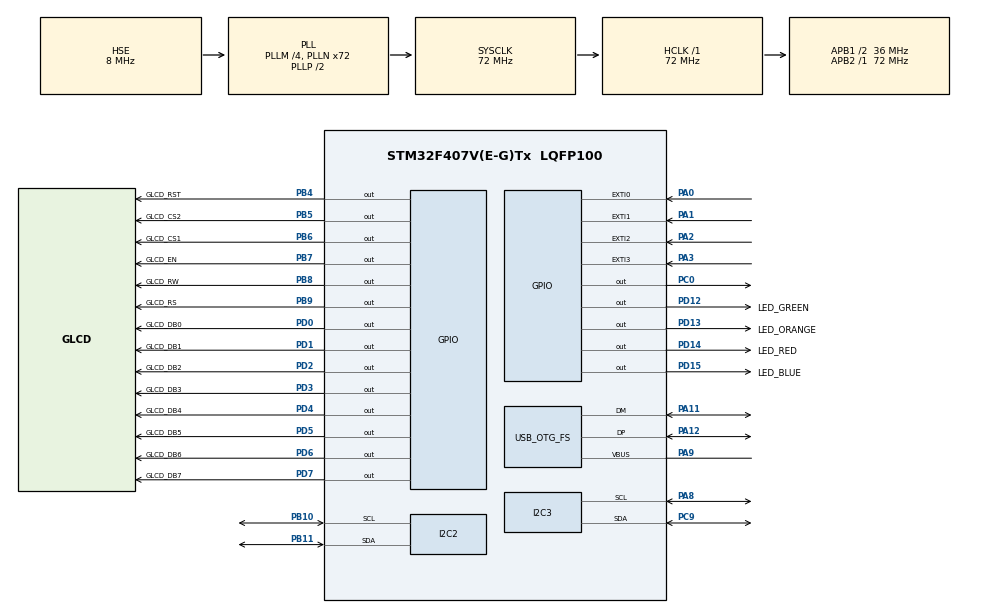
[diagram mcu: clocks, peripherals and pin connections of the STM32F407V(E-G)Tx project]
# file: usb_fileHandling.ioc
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FATFS._FS_EXFAT=1
FATFS._MAX_SS=4096
FATFS._USE_LFN=1
I2C2.DutyCycle=I2C_DUTYCYCLE_16_9
I2C2.I2C_Mode=I2C_Fast
I2C3.DutyCycle=I2C_DUTYCYCLE_16_9
I2C3.I2C_Mode=I2C_Fast
Mcu.Family=STM32F4
Mcu.Name=STM32F407V(E-G)Tx
Mcu.Package=LQFP100
NVIC.EXTI0_IRQn=true\:0\:0\:false\:false\:true\:true\:true
NVIC.EXTI1_IRQn=true\:0\:0\:false\:false\:true\:true\:true
NVIC.EXTI2_IRQn=true\:0\:0\:false\:false\:true\:true\:true
NVIC.EXTI3_IRQn=true\:0\:0\:false\:false\:true\:true\:true
NVIC.I2C2_EV_IRQn=true\:0\:0\:false\:false\:true\:true\:true
NVIC.I2C3_ER_IRQn=true\:0\:0\:false\:false\:true\:true\:true
NVIC.I2C3_EV_IRQn=true\:0\:0\:false\:false\:true\:true\:true
NVIC.OTG_FS_IRQn=true\:0\:0\:false\:false\:true\:true\:true
NVIC.PriorityGroup=NVIC_PRIORITYGROUP_4
PA0-WKUP.Signal=GPXTI0
PA1.Signal=GPXTI1
PA11.Mode=Host_Only
PA11.Signal=USB_OTG_FS_DM
PA12.Mode=Host_Only
PA12.Signal=USB_OTG_FS_DP
PA13.Mode=Serial_Wire
PA13.Signal=SYS_JTMS-SWDIO
PA14.Mode=Serial_Wire
PA14.Signal=SYS_JTCK-SWCLK
PA2.Signal=GPXTI2
PA3.Signal=GPXTI3
PA8.Mode=I2C
PA8.Signal=I2C3_SCL
PA9.Mode=Activate_VBUS
PA9.Signal=USB_OTG_FS_VBUS
PB10.Mode=I2C
PB10.Signal=I2C2_SCL
PB11.Mode=I2C
PB11.Signal=I2C2_SDA
PB4.GPIO_Label=GLCD_RST
PB4.Signal=GPIO_Output
PB5.GPIO_Label=GLCD_CS2
PB5.Signal=GPIO_Output
PB6.GPIO_Label=GLCD_CS1
PB6.Signal=GPIO_Output
PB7.GPIO_Label=GLCD_EN
PB7.Signal=GPIO_Output
PB8.GPIO_Label=GLCD_RW
PB8.Signal=GPIO_Output
PB9.GPIO_Label=GLCD_RS
PB9.Signal=GPIO_Output
PC0.Signal=GPIO_Output
PC9.Mode=I2C
PC9.Signal=I2C3_SDA
PD0.GPIO_Label=GLCD_DB0
PD0.Signal=GPIO_Output
PD1.GPIO_Label=GLCD_DB1
PD1.Signal=GPIO_Output
PD12.GPIO_Label=LED_GREEN
PD12.Signal=GPIO_Output
PD13.GPIO_Label=LED_ORANGE
PD13.Signal=GPIO_Output
PD14.GPIO_Label=LED_RED
PD14.Signal=GPIO_Output
PD15.GPIO_Label=LED_BLUE
PD15.Signal=GPIO_Output
PD2.GPIO_Label=GLCD_DB2
PD2.Signal=GPIO_Output
PD3.GPIO_Label=GLCD_DB3
PD3.Signal=GPIO_Output
PD4.GPIO_Label=GLCD_DB4
PD4.Signal=GPIO_Output
PD5.GPIO_Label=GLCD_DB5
PD5.Signal=GPIO_Output
PD6.GPIO_Label=GLCD_DB6
PD6.Signal=GPIO_Output
PD7.GPIO_Label=GLCD_DB7
PD7.Signal=GPIO_Output
PH0-OSC_IN.Mode=HSE-External-Oscillator
PH0-OSC_IN.Signal=RCC_OSC_IN
PH1-OSC_OUT.Mode=HSE-External-Oscillator
PH1-OSC_OUT.Signal=RCC_OSC_OUT
ProjectManager.HeapSize=0x200
ProjectManager.StackSize=0x400
ProjectManager.TargetToolchain=STM32CubeIDE
RCC.48MHZClocksFreq_Value=48000000
RCC.AHBFreq_Value=72000000
RCC.APB1CLKDivider=RCC_HCLK_DIV2
RCC.APB1Freq_Value=36000000
RCC.APB1TimFreq_Value=72000000
RCC.APB2Freq_Value=72000000
RCC.APB2TimFreq_Value=72000000
RCC.CortexFreq_Value=72000000
RCC.HCLKFreq_Value=72000000
RCC.HSE_VALUE=8000000
RCC.HSI_VALUE=16000000
RCC.LSE_VALUE=32768
RCC.PLLM=4
RCC.PLLN=72
RCC.PLLQ=3
RCC.SYSCLKFreq_VALUE=72000000
RCC.SYSCLKSource=RCC_SYSCLKSOURCE_PLLCLK
RCC.VCOOutputFreq_Value=144000000
TIM1.Period=0xffff-1
TIM1.Prescaler=72-1
USB_HOST.BSP.number=1
USB_HOST.USBH_HandleTypeDef-MSC_FS=hUsbHostFS
USB_HOST.VirtualModeFS=Msc
USB_HOST0.BSP.STBoard=false
USB_HOST0.BSP.api=Unknown
USB_HOST0.BSP.i2caddr=0
USB_HOST0.BSP.instance=PC0
USB_HOST0.BSP.ip=GPIO
USB_HOST0.BSP.mode=Output
USB_HOST0.BSP.name=Drive_VBUS_FS
USB_HOST0.BSP.solution=PC0
USB_OTG_FS.VirtualMode=Host_Only
USB_OTG_FS.phy_itface=HCD_PHY_EMBEDDED
VP_FATFS_VS_USB.Mode=USB
VP_TIM1_VS_ClockSourceINT.Mode=Internal
VP_USB_HOST_VS_USB_HOST_MSC_FS.Mode=MSC_FS
board=custom

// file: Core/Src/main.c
/* USER CODE BEGIN Header */
/**
  ******************************************************************************
  * @file           : main.c
  * @brief          : Main program body
  ******************************************************************************
  * @attention
  *
  * <h2><center>&copy; Copyright (c) 2021 STMicroelectronics.
  * All rights reserved.</center></h2>
  *
  * This software component is licensed by ST under Ultimate Liberty license
  * SLA0044, the "License"; You may not use this file except in compliance with
  * the License. You may obtain a copy of the License at:
  *                             www.st.com/SLA0044
  *
  ******************************************************************************
  */
/* USER CODE END Header */
#include "main.h"
#include "fatfs.h"
#include "usb_host.h"

/* USER CODE BEGIN Includes */
#include "jhd12864e.h"
#include "pca9698.h"
#include "usb_FH.h"

/* USER CODE END Includes */

I2C_HandleTypeDef hi2c2;
I2C_HandleTypeDef hi2c3;

TIM_HandleTypeDef htim1;

/* USER CODE BEGIN PV */
int filecount;
extern ApplicationTypeDef Appli_state;
typedef enum {
	up_button = 0x00,
	down_button = 0x01,
	select_button = 0x02,
	usb_mount = 0x03,
	usb_unmount = 0x04,
	no_button = 0xFF
} hmi_state;
extern GLCD_t glcd_handle;
hmi_state select_flag=no_button;
/* USER CODE END PV */

void SystemClock_Config(void);
static void MX_GPIO_Init(void);
static void MX_TIM1_Init(void);
static void MX_I2C2_Init(void);
static void MX_I2C3_Init(void);
void MX_USB_HOST_Process(void);

int main(void)
{

  /* MCU Configuration--------------------------------------------------------*/

  /* Reset of all peripherals, Initializes the Flash interface and the Systick. */
  HAL_Init();

  /* Configure the system clock */
  SystemClock_Config();

  /* Initialize all configured peripherals */
  MX_GPIO_Init();
  MX_TIM1_Init();
  MX_FATFS_Init();
  MX_USB_HOST_Init();
  MX_I2C2_Init();
  MX_I2C3_Init();
  /* USER CODE BEGIN 2 */
  HAL_TIM_Base_Start(&htim1);
  GLCD_Init();
  GLCD_Clear_All();
  /* USER CODE END 2 */

  /* Infinite loop */
  /* USER CODE BEGIN WHILE */
  while (1)
  {
	  if(select_flag==down_button){
	  	  		if(glcd_handle.cursor_pos<(glcd_handle.listCount-1)){
	  	  			GLCD_Cursor_update(incr);
	  	  		}
	  	  		else//update new content
	  	  			;
	  	  		select_flag=no_button;
	  	  	}
	  	  	if(select_flag==up_button){
	  	  		if(glcd_handle.cursor_pos>0){
	  	  			GLCD_Cursor_update(decr);
	  	  		}
	  	  		else
	  	  		    ;
	  	  		select_flag=no_button;
	  	  	}if(select_flag==select_button){// here there is a bug what happen if initially press the button it reset to no_button so next time new file selected
	  	  		if(Appli_state == APPLICATION_READY){
	  	  			char buf[8];
	  	  			static uint16_t offset=0;//need to make it 0 when new file selected
	  	  			Open_File(glcd_handle.display_list[glcd_handle.cursor_pos]);
	  	  			Lseek_File(offset);
	  	  			Read_File(buf,2);
	  	  			offset+=2;
	  	  			GLCD_Clear_All();
	  	  			GLCD_printLine(1,buf);
	  	  		    select_flag=no_button;
	  	  		}
	  	  		//select_flag=no_button;//for time being we will comment this to sort it
	  	  	}if(select_flag==back_button){

	  	  	}
    /* USER CODE END WHILE */
    MX_USB_HOST_Process();

  }
}

void SystemClock_Config(void)
{
  RCC_OscInitTypeDef RCC_OscInitStruct = {0};
  RCC_ClkInitTypeDef RCC_ClkInitStruct = {0};

  /** Configure the main internal regulator output voltage
  */
  __HAL_RCC_PWR_CLK_ENABLE();
  __HAL_PWR_VOLTAGESCALING_CONFIG(PWR_REGULATOR_VOLTAGE_SCALE1);
  /** Initializes the RCC Oscillators according to the specified parameters
  * in the RCC_OscInitTypeDef structure.
  */
  RCC_OscInitStruct.OscillatorType = RCC_OSCILLATORTYPE_HSE;
  RCC_OscInitStruct.HSEState = RCC_HSE_ON;
  RCC_OscInitStruct.PLL.PLLState = RCC_PLL_ON;
  RCC_OscInitStruct.PLL.PLLSource = RCC_PLLSOURCE_HSE;
  RCC_OscInitStruct.PLL.PLLM = 4;
  RCC_OscInitStruct.PLL.PLLN = 72;
  RCC_OscInitStruct.PLL.PLLP = RCC_PLLP_DIV2;
  RCC_OscInitStruct.PLL.PLLQ = 3;
  if (HAL_RCC_OscConfig(&RCC_OscInitStruct) != HAL_OK)
  {
    Error_Handler();
  }
  /** Initializes the CPU, AHB and APB buses clocks
  */
  RCC_ClkInitStruct.ClockType = RCC_CLOCKTYPE_HCLK|RCC_CLOCKTYPE_SYSCLK
                              |RCC_CLOCKTYPE_PCLK1|RCC_CLOCKTYPE_PCLK2;
  RCC_ClkInitStruct.SYSCLKSource = RCC_SYSCLKSOURCE_PLLCLK;
  RCC_ClkInitStruct.AHBCLKDivider = RCC_SYSCLK_DIV1;
  RCC_ClkInitStruct.APB1CLKDivider = RCC_HCLK_DIV2;
  RCC_ClkInitStruct.APB2CLKDivider = RCC_HCLK_DIV1;

  if (HAL_RCC_ClockConfig(&RCC_ClkInitStruct, FLASH_LATENCY_2) != HAL_OK)
  {
    Error_Handler();
  }
}

static void MX_I2C2_Init(void)
{

  hi2c2.Instance = I2C2;
  hi2c2.Init.ClockSpeed = 400000;
  hi2c2.Init.DutyCycle = I2C_DUTYCYCLE_16_9;
  hi2c2.Init.OwnAddress1 = 0;
  hi2c2.Init.AddressingMode = I2C_ADDRESSINGMODE_7BIT;
  hi2c2.Init.DualAddressMode = I2C_DUALADDRESS_DISABLE;
  hi2c2.Init.OwnAddress2 = 0;
  hi2c2.Init.GeneralCallMode = I2C_GENERALCALL_DISABLE;
  hi2c2.Init.NoStretchMode = I2C_NOSTRETCH_DISABLE;
  if (HAL_I2C_Init(&hi2c2) != HAL_OK)
  {
    Error_Handler();
  }

}

static void MX_I2C3_Init(void)
{

  hi2c3.Instance = I2C3;
  hi2c3.Init.ClockSpeed = 400000;
  hi2c3.Init.DutyCycle = I2C_DUTYCYCLE_16_9;
  hi2c3.Init.OwnAddress1 = 0;
  hi2c3.Init.AddressingMode = I2C_ADDRESSINGMODE_7BIT;
  hi2c3.Init.DualAddressMode = I2C_DUALADDRESS_DISABLE;
  hi2c3.Init.OwnAddress2 = 0;
  hi2c3.Init.GeneralCallMode = I2C_GENERALCALL_DISABLE;
  hi2c3.Init.NoStretchMode = I2C_NOSTRETCH_DISABLE;
  if (HAL_I2C_Init(&hi2c3) != HAL_OK)
  {
    Error_Handler();
  }

}

static void MX_TIM1_Init(void)
{

  TIM_ClockConfigTypeDef sClockSourceConfig = {0};
  TIM_MasterConfigTypeDef sMasterConfig = {0};

  htim1.Instance = TIM1;
  htim1.Init.Prescaler = 72-1;
  htim1.Init.CounterMode = TIM_COUNTERMODE_UP;
  htim1.Init.Period = 0xffff-1;
  htim1.Init.ClockDivision = TIM_CLOCKDIVISION_DIV1;
  htim1.Init.RepetitionCounter = 0;
  htim1.Init.AutoReloadPreload = TIM_AUTORELOAD_PRELOAD_DISABLE;
  if (HAL_TIM_Base_Init(&htim1) != HAL_OK)
  {
    Error_Handler();
  }
  sClockSourceConfig.ClockSource = TIM_CLOCKSOURCE_INTERNAL;
  if (HAL_TIM_ConfigClockSource(&htim1, &sClockSourceConfig) != HAL_OK)
  {
    Error_Handler();
  }
  sMasterConfig.MasterOutputTrigger = TIM_TRGO_RESET;
  sMasterConfig.MasterSlaveMode = TIM_MASTERSLAVEMODE_DISABLE;
  if (HAL_TIMEx_MasterConfigSynchronization(&htim1, &sMasterConfig) != HAL_OK)
  {
    Error_Handler();
  }

}

static void MX_GPIO_Init(void)
{
  GPIO_InitTypeDef GPIO_InitStruct = {0};

  /* GPIO Ports Clock Enable */
  __HAL_RCC_GPIOH_CLK_ENABLE();
  __HAL_RCC_GPIOC_CLK_ENABLE();
  __HAL_RCC_GPIOA_CLK_ENABLE();
  __HAL_RCC_GPIOB_CLK_ENABLE();
  __HAL_RCC_GPIOD_CLK_ENABLE();

  /*Configure GPIO pin Output Level */
  HAL_GPIO_WritePin(GPIOC, GPIO_PIN_0, GPIO_PIN_RESET);

  /*Configure GPIO pin Output Level */
  HAL_GPIO_WritePin(GPIOD, LED_GREEN_Pin|LED_ORANGE_Pin|LED_RED_Pin|LED_BLUE_Pin
                          |GLCD_DB0_Pin|GLCD_DB1_Pin|GLCD_DB2_Pin|GLCD_DB3_Pin
                          |GLCD_DB4_Pin|GLCD_DB5_Pin|GLCD_DB6_Pin|GLCD_DB7_Pin, GPIO_PIN_RESET);

  /*Configure GPIO pin Output Level */
  HAL_GPIO_WritePin(GPIOB, GLCD_RST_Pin|GLCD_CS2_Pin|GLCD_CS1_Pin|GLCD_EN_Pin
                          |GLCD_RW_Pin|GLCD_RS_Pin, GPIO_PIN_RESET);

  /*Configure GPIO pin : PC0 */
  GPIO_InitStruct.Pin = GPIO_PIN_0;
  GPIO_InitStruct.Mode = GPIO_MODE_OUTPUT_PP;
  GPIO_InitStruct.Pull = GPIO_NOPULL;
  GPIO_InitStruct.Speed = GPIO_SPEED_FREQ_LOW;
  HAL_GPIO_Init(GPIOC, &GPIO_InitStruct);

  /*Configure GPIO pins : PA0 PA1 PA2 PA3 */
  GPIO_InitStruct.Pin = GPIO_PIN_0|GPIO_PIN_1|GPIO_PIN_2|GPIO_PIN_3;
  GPIO_InitStruct.Mode = GPIO_MODE_IT_RISING;
  GPIO_InitStruct.Pull = GPIO_NOPULL;
  HAL_GPIO_Init(GPIOA, &GPIO_InitStruct);

  /*Configure GPIO pins : LED_GREEN_Pin LED_ORANGE_Pin LED_RED_Pin LED_BLUE_Pin
                           GLCD_DB0_Pin GLCD_DB1_Pin GLCD_DB2_Pin GLCD_DB3_Pin
                           GLCD_DB4_Pin GLCD_DB5_Pin GLCD_DB6_Pin GLCD_DB7_Pin */
  GPIO_InitStruct.Pin = LED_GREEN_Pin|LED_ORANGE_Pin|LED_RED_Pin|LED_BLUE_Pin
                          |GLCD_DB0_Pin|GLCD_DB1_Pin|GLCD_DB2_Pin|GLCD_DB3_Pin
                          |GLCD_DB4_Pin|GLCD_DB5_Pin|GLCD_DB6_Pin|GLCD_DB7_Pin;
  GPIO_InitStruct.Mode = GPIO_MODE_OUTPUT_PP;
  GPIO_InitStruct.Pull = GPIO_NOPULL;
  GPIO_InitStruct.Speed = GPIO_SPEED_FREQ_LOW;
  HAL_GPIO_Init(GPIOD, &GPIO_InitStruct);

  /*Configure GPIO pins : GLCD_RST_Pin GLCD_CS2_Pin GLCD_CS1_Pin GLCD_EN_Pin
                           GLCD_RW_Pin GLCD_RS_Pin */
  GPIO_InitStruct.Pin = GLCD_RST_Pin|GLCD_CS2_Pin|GLCD_CS1_Pin|GLCD_EN_Pin
                          |GLCD_RW_Pin|GLCD_RS_Pin;
  GPIO_InitStruct.Mode = GPIO_MODE_OUTPUT_PP;
  GPIO_InitStruct.Pull = GPIO_NOPULL;
  GPIO_InitStruct.Speed = GPIO_SPEED_FREQ_LOW;
  HAL_GPIO_Init(GPIOB, &GPIO_InitStruct);

  /* EXTI interrupt init*/
  HAL_NVIC_SetPriority(EXTI0_IRQn, 0, 0);
  HAL_NVIC_EnableIRQ(EXTI0_IRQn);

  HAL_NVIC_SetPriority(EXTI1_IRQn, 0, 0);
  HAL_NVIC_EnableIRQ(EXTI1_IRQn);

  HAL_NVIC_SetPriority(EXTI2_IRQn, 0, 0);
  HAL_NVIC_EnableIRQ(EXTI2_IRQn);

  HAL_NVIC_SetPriority(EXTI3_IRQn, 0, 0);
  HAL_NVIC_EnableIRQ(EXTI3_IRQn);

}

/* USER CODE BEGIN 4 */
void HAL_GPIO_EXTI_Callback(uint16_t GPIO_Pin)
{
	if(GPIO_Pin==GPIO_PIN_0){
		select_flag=down_button;

	}
	if(GPIO_Pin==GPIO_PIN_1){
		select_flag=up_button;
	}
	if(GPIO_Pin==GPIO_PIN_2)
	{
		select_flag=select_button;

	}
}
/* USER CODE END 4 */

void Error_Handler(void)
{
  __disable_irq();
  while (1)
  {
  }
}

/************************ (C) COPYRIGHT STMicroelectronics *****END OF FILE****/
